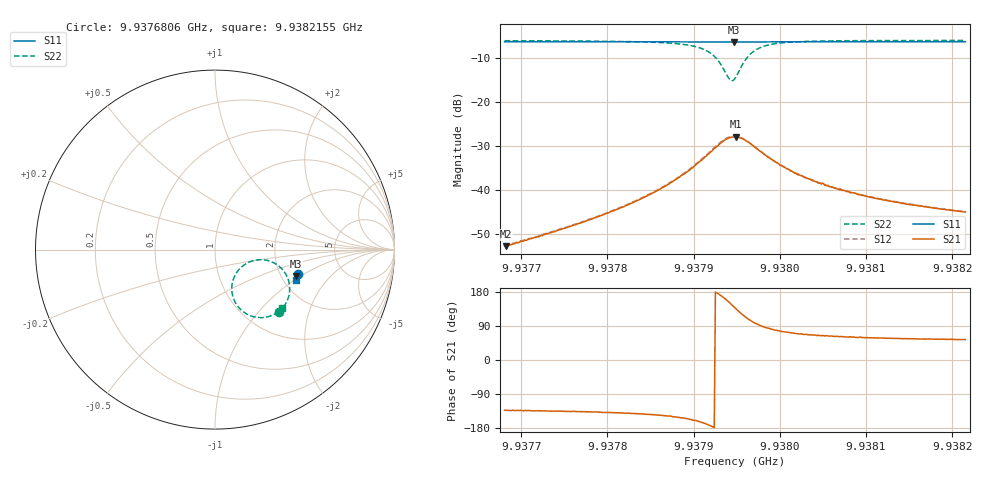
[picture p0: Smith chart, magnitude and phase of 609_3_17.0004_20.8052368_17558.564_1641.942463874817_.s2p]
#  HZ  S  RI  R  50.00
! Rohde & Schwarz Vector Network Analyzer
! Rohde-Schwarz,ZNB20-2Port,1311601062101988,3.16
! Created: UTC 3/20/2024, 11:19:22 PM
! freq[Hz]  re:S11  im:S11  re:S21  im:S21  re:S12  im:S12  re:S22  im:S22
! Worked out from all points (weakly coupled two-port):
!   401 points, 9.9376806 GHz to 9.9382155 GHz, reference 50 ohm
!   highest |S21| = -27.90 dB at 9.9379494 GHz (marker M1); lowest = -52.8 dB at 9.9376819 GHz (marker M2)
!   lowest |S11| = -6.4 dB at 9.9379467 GHz (marker M3), VSWR 2.82, Z = 120 - j46 ohm
!   |S11| at or under -10 dB: nowhere
!   |S22| runs from -15.2 to -6.1 dB; largest |S21 - S12| = 0.0019
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9.9376806e9  0.4632 -0.1332  -0.00157 -0.00172  -0.00159 -0.00166  0.3541 -0.345
9.93768194e9  0.4632 -0.1334  -0.00157 -0.00169  -0.00161 -0.00168  0.3539 -0.3452
9.9377702e9  0.461 -0.1394  -0.0031 -0.00295  -0.00321 -0.00295  0.3356 -0.3574
9.93781701e9  0.4594 -0.1427  -0.00484 -0.0041  -0.00501 -0.00406  0.3178 -0.3662
9.9378598e9  0.458 -0.1456  -0.00833 -0.00566  -0.00857 -0.00566  0.2857 -0.3761
9.9378919e9  0.4566 -0.148  -0.0143 -0.00693  -0.0148 -0.00673  0.2337 -0.3776
9.9379133e9  0.4551 -0.1494  -0.0231 -0.00513  -0.0239 -0.00475  0.1651 -0.3517
9.937924e9  0.4539 -0.1497  -0.0294 -0.00068  -0.0303 -2.38e-05  0.1204 -0.3068
9.93793336e9  0.453 -0.1495  -0.0343 0.00777  -0.035 0.00901  0.094 -0.2312
9.93794138e9  0.4522 -0.1487  -0.0345 0.0182  -0.0347 0.0201  0.1108 -0.1452
9.93794406e9  0.4524 -0.1484  -0.033 0.0222  -0.0328 0.0239  0.1282 -0.1174
9.93794673e9  0.4524 -0.148  -0.0308 0.0256  -0.0306 0.0273  0.1511 -0.094
9.93794807e9  0.4525 -0.148  -0.0295 0.0271  -0.0292 0.0288  0.1642 -0.084
9.93794941e9  0.4528 -0.1478  -0.0283 0.0286  -0.0276 0.0301  0.1781 -0.0755
9.93795609e9  0.4535 -0.1475  -0.0198 0.0328  -0.0188 0.0341  0.2522 -0.0563
9.93796278e9  0.4541 -0.1477  -0.0115 0.0332  -0.0105 0.0339  0.3163 -0.0685
9.93797615e9  0.4552 -0.149  -0.00112 0.028  -0.000218 0.0283  0.3879 -0.1264
9.9380029e9  0.4555 -0.1518  0.0048 0.018  0.00515 0.018  0.4163 -0.2147
9.93803767e9  0.4548 -0.1547  0.00515 0.0117  0.0056 0.0118  0.4092 -0.2659
9.93807378e9  0.4539 -0.1573  0.00474 0.00866  0.0049 0.00866  0.399 -0.2912
9.93812727e9  0.4525 -0.1612  0.00403 0.00628  0.00418 0.0063  0.3877 -0.3106
9.93821554e9  0.4499 -0.1669  0.00331 0.00454  0.00345 0.0045  0.3746 -0.3276
